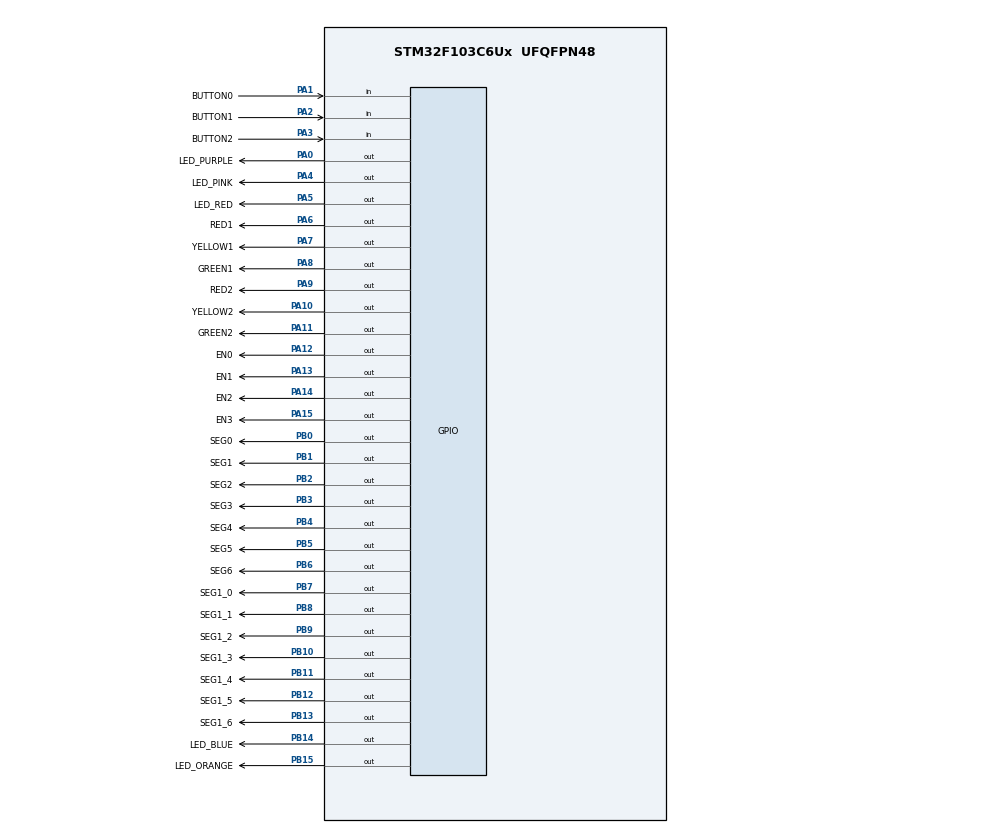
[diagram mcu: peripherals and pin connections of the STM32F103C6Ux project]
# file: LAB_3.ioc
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Mcu.Family=STM32F1
Mcu.Name=STM32F103C6Ux
Mcu.Package=UFQFPN48
NVIC.PriorityGroup=NVIC_PRIORITYGROUP_4
NVIC.TIM2_IRQn=true\:0\:0\:false\:false\:true\:true\:true
PA0-WKUP.GPIO_Label=LED_PURPLE
PA0-WKUP.Signal=GPIO_Output
PA1.GPIO_Label=BUTTON0
PA1.GPIO_PuPd=GPIO_PULLUP
PA1.Signal=GPIO_Input
PA10.GPIO_Label=YELLOW2
PA10.Signal=GPIO_Output
PA11.GPIO_Label=GREEN2
PA11.Signal=GPIO_Output
PA12.GPIO_Label=EN0
PA12.Signal=GPIO_Output
PA13.GPIO_Label=EN1
PA13.Signal=GPIO_Output
PA14.GPIO_Label=EN2
PA14.Signal=GPIO_Output
PA15.GPIO_Label=EN3
PA15.Signal=GPIO_Output
PA2.GPIO_Label=BUTTON1
PA2.GPIO_PuPd=GPIO_PULLUP
PA2.Signal=GPIO_Input
PA3.GPIO_Label=BUTTON2
PA3.GPIO_PuPd=GPIO_PULLUP
PA3.Signal=GPIO_Input
PA4.GPIO_Label=LED_PINK
PA4.Signal=GPIO_Output
PA5.GPIO_Label=LED_RED
PA5.Signal=GPIO_Output
PA6.GPIO_Label=RED1
PA6.Signal=GPIO_Output
PA7.GPIO_Label=YELLOW1
PA7.Signal=GPIO_Output
PA8.GPIO_Label=GREEN1
PA8.Signal=GPIO_Output
PA9.GPIO_Label=RED2
PA9.Signal=GPIO_Output
PB0.GPIO_Label=SEG0
PB0.Signal=GPIO_Output
PB1.GPIO_Label=SEG1
PB1.Signal=GPIO_Output
PB10.GPIO_Label=SEG1_3
PB10.Signal=GPIO_Output
PB11.GPIO_Label=SEG1_4
PB11.Signal=GPIO_Output
PB12.GPIO_Label=SEG1_5
PB12.Signal=GPIO_Output
PB13.GPIO_Label=SEG1_6
PB13.Signal=GPIO_Output
PB14.GPIO_Label=LED_BLUE
PB14.Signal=GPIO_Output
PB15.GPIO_Label=LED_ORANGE
PB15.Signal=GPIO_Output
PB2.GPIO_Label=SEG2
PB2.Signal=GPIO_Output
PB3.GPIO_Label=SEG3
PB3.Signal=GPIO_Output
PB4.GPIO_Label=SEG4
PB4.Signal=GPIO_Output
PB5.GPIO_Label=SEG5
PB5.Signal=GPIO_Output
PB6.GPIO_Label=SEG6
PB6.Signal=GPIO_Output
PB7.GPIO_Label=SEG1_0
PB7.Signal=GPIO_Output
PB8.GPIO_Label=SEG1_1
PB8.Signal=GPIO_Output
PB9.GPIO_Label=SEG1_2
PB9.Signal=GPIO_Output
ProjectManager.HeapSize=0x200
ProjectManager.StackSize=0x400
ProjectManager.TargetToolchain=STM32CubeIDE
RCC.APB1Freq_Value=8000000
RCC.APB2Freq_Value=8000000
TIM2.Period=9
TIM2.Prescaler=7999
VP_SYS_VS_ND.Mode=No_Debug
VP_TIM2_VS_ClockSourceINT.Mode=Internal
board=custom

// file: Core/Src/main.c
/* USER CODE BEGIN Header */
/**
  ******************************************************************************
  * @file           : main.c
  * @brief          : Main program body
  ******************************************************************************
  * @attention
  *
  * <h2><center>&copy; Copyright (c) 2025 STMicroelectronics.
  * All rights reserved.</center></h2>
  *
  * This software component is licensed by ST under BSD 3-Clause license,
  * the "License"; You may not use this file except in compliance with the
  * License. You may obtain a copy of the License at:
  *                        opensource.org/licenses/BSD-3-Clause
  *
  ******************************************************************************
  */
/* USER CODE END Header */
#include "main.h"

/* USER CODE BEGIN Includes */
#include "button.h"
#include "software_timer.h"
#include "display7SEG.h"
#include "traffic_light.h"
#include "global.h"
#include "FSM_automatic.h"
#include "FSM_traffic_light.h"
#include "FSM_display7SEG.h"
#include "scheduler.h"
/* USER CODE END Includes */

TIM_HandleTypeDef htim2;

void SystemClock_Config(void);
static void MX_GPIO_Init(void);
static void MX_TIM2_Init(void);

/* USER CODE BEGIN 0 */
void Task_getKeyInput(){
	getKeyInput0();
	getKeyInput1();
	getKeyInput2();
}
void Task_TrafficLight_controller(){
	FSM_TL_control_run();
	FSM_automatic_run();
}
void Task_Display7SEG(){
	FSM_display7SEG_0();
	FSM_display7SEG_1();
}
void Task_LedRedBlinky(){
	HAL_GPIO_TogglePin(LED_RED_GPIO_Port, LED_RED_Pin);
}
void Task_LedPinkBlinky(){
	HAL_GPIO_TogglePin(LED_PINK_GPIO_Port, LED_PINK_Pin);
}
void Task_LedBlueBlinky(){
	HAL_GPIO_TogglePin(LED_BLUE_GPIO_Port, LED_BLUE_Pin);
}
void Task_LedOrangeBlinky(){
	HAL_GPIO_TogglePin(LED_ORANGE_GPIO_Port, LED_ORANGE_Pin);
}
void Task_LedPurpleBlinky(){
	HAL_GPIO_TogglePin(LED_PURPLE_GPIO_Port, LED_PURPLE_Pin);
}
/* USER CODE END 0 */

int main(void)
{

  /* MCU Configuration--------------------------------------------------------*/

  /* Reset of all peripherals, Initializes the Flash interface and the Systick. */
  HAL_Init();

  /* Configure the system clock */
  SystemClock_Config();

  /* Initialize all configured peripherals */
  MX_GPIO_Init();
  MX_TIM2_Init();
  /* USER CODE BEGIN 2 */
  HAL_TIM_Base_Start_IT(&htim2);

  mode = INIT;
  TL_status = INIT;
  TL_status_1 = INIT;
  status_7SEG_0 = INIT;
  status_7SEG_1 = INIT;
  HAL_GPIO_WritePin(LED_RED_GPIO_Port, LED_RED_Pin, SET);
  HAL_GPIO_WritePin(LED_PINK_GPIO_Port, LED_PINK_Pin, SET);
  HAL_GPIO_WritePin(LED_BLUE_GPIO_Port, LED_BLUE_Pin, SET);
  HAL_GPIO_WritePin(LED_ORANGE_GPIO_Port, LED_ORANGE_Pin, SET);
  HAL_GPIO_WritePin(LED_PURPLE_GPIO_Port, LED_PURPLE_Pin, SET);

  SCH_Init();
  SCH_Add_Task(timerRun, 0, 10);
  SCH_Add_Task(Task_getKeyInput, 0, 10);
  SCH_Add_Task(Task_TrafficLight_controller, 10, 20);
  SCH_Add_Task(Task_Display7SEG, 10, 20);

  SCH_Add_Task(Task_LedRedBlinky, 1000, 500);
  SCH_Add_Task(Task_LedBlueBlinky, 1000, 1000);
  SCH_Add_Task(Task_LedPinkBlinky, 1000, 1500);
  SCH_Add_Task(Task_LedOrangeBlinky, 1000, 2000);
  SCH_Add_Task(Task_LedPurpleBlinky, 1000, 2500);

  /* USER CODE END 2 */

  /* Infinite loop */
  /* USER CODE BEGIN WHILE */
  while (1)
  {
	  SCH_Dispatch_Tasks();

    /* USER CODE END WHILE */

  }
}

void SystemClock_Config(void)
{
  RCC_OscInitTypeDef RCC_OscInitStruct = {0};
  RCC_ClkInitTypeDef RCC_ClkInitStruct = {0};

  /** Initializes the RCC Oscillators according to the specified parameters
  * in the RCC_OscInitTypeDef structure.
  */
  RCC_OscInitStruct.OscillatorType = RCC_OSCILLATORTYPE_HSI;
  RCC_OscInitStruct.HSIState = RCC_HSI_ON;
  RCC_OscInitStruct.HSICalibrationValue = RCC_HSICALIBRATION_DEFAULT;
  RCC_OscInitStruct.PLL.PLLState = RCC_PLL_NONE;
  if (HAL_RCC_OscConfig(&RCC_OscInitStruct) != HAL_OK)
  {
    Error_Handler();
  }
  /** Initializes the CPU, AHB and APB buses clocks
  */
  RCC_ClkInitStruct.ClockType = RCC_CLOCKTYPE_HCLK|RCC_CLOCKTYPE_SYSCLK
                              |RCC_CLOCKTYPE_PCLK1|RCC_CLOCKTYPE_PCLK2;
  RCC_ClkInitStruct.SYSCLKSource = RCC_SYSCLKSOURCE_HSI;
  RCC_ClkInitStruct.AHBCLKDivider = RCC_SYSCLK_DIV1;
  RCC_ClkInitStruct.APB1CLKDivider = RCC_HCLK_DIV1;
  RCC_ClkInitStruct.APB2CLKDivider = RCC_HCLK_DIV1;

  if (HAL_RCC_ClockConfig(&RCC_ClkInitStruct, FLASH_LATENCY_0) != HAL_OK)
  {
    Error_Handler();
  }
}

static void MX_TIM2_Init(void)
{

  TIM_ClockConfigTypeDef sClockSourceConfig = {0};
  TIM_MasterConfigTypeDef sMasterConfig = {0};

  htim2.Instance = TIM2;
  htim2.Init.Prescaler = 7999;
  htim2.Init.CounterMode = TIM_COUNTERMODE_UP;
  htim2.Init.Period = 9;
  htim2.Init.ClockDivision = TIM_CLOCKDIVISION_DIV1;
  htim2.Init.AutoReloadPreload = TIM_AUTORELOAD_PRELOAD_DISABLE;
  if (HAL_TIM_Base_Init(&htim2) != HAL_OK)
  {
    Error_Handler();
  }
  sClockSourceConfig.ClockSource = TIM_CLOCKSOURCE_INTERNAL;
  if (HAL_TIM_ConfigClockSource(&htim2, &sClockSourceConfig) != HAL_OK)
  {
    Error_Handler();
  }
  sMasterConfig.MasterOutputTrigger = TIM_TRGO_RESET;
  sMasterConfig.MasterSlaveMode = TIM_MASTERSLAVEMODE_DISABLE;
  if (HAL_TIMEx_MasterConfigSynchronization(&htim2, &sMasterConfig) != HAL_OK)
  {
    Error_Handler();
  }

}

static void MX_GPIO_Init(void)
{
  GPIO_InitTypeDef GPIO_InitStruct = {0};

  /* GPIO Ports Clock Enable */
  __HAL_RCC_GPIOA_CLK_ENABLE();
  __HAL_RCC_GPIOB_CLK_ENABLE();

  /*Configure GPIO pin Output Level */
  HAL_GPIO_WritePin(GPIOA, LED_PURPLE_Pin|LED_PINK_Pin|LED_RED_Pin|RED1_Pin
                          |YELLOW1_Pin|GREEN1_Pin|RED2_Pin|YELLOW2_Pin
                          |GREEN2_Pin|EN0_Pin|EN1_Pin|EN2_Pin
                          |EN3_Pin, GPIO_PIN_RESET);

  /*Configure GPIO pin Output Level */
  HAL_GPIO_WritePin(GPIOB, SEG0_Pin|SEG1_Pin|SEG2_Pin|SEG1_3_Pin
                          |SEG1_4_Pin|SEG1_5_Pin|SEG1_6_Pin|LED_BLUE_Pin
                          |LED_ORANGE_Pin|SEG3_Pin|SEG4_Pin|SEG5_Pin
                          |SEG6_Pin|SEG1_0_Pin|SEG1_1_Pin|SEG1_2_Pin, GPIO_PIN_RESET);

  /*Configure GPIO pins : LED_PURPLE_Pin LED_PINK_Pin LED_RED_Pin RED1_Pin
                           YELLOW1_Pin GREEN1_Pin RED2_Pin YELLOW2_Pin
                           GREEN2_Pin EN0_Pin EN1_Pin EN2_Pin
                           EN3_Pin */
  GPIO_InitStruct.Pin = LED_PURPLE_Pin|LED_PINK_Pin|LED_RED_Pin|RED1_Pin
                          |YELLOW1_Pin|GREEN1_Pin|RED2_Pin|YELLOW2_Pin
                          |GREEN2_Pin|EN0_Pin|EN1_Pin|EN2_Pin
                          |EN3_Pin;
  GPIO_InitStruct.Mode = GPIO_MODE_OUTPUT_PP;
  GPIO_InitStruct.Pull = GPIO_NOPULL;
  GPIO_InitStruct.Speed = GPIO_SPEED_FREQ_LOW;
  HAL_GPIO_Init(GPIOA, &GPIO_InitStruct);

  /*Configure GPIO pins : BUTTON0_Pin BUTTON1_Pin BUTTON2_Pin */
  GPIO_InitStruct.Pin = BUTTON0_Pin|BUTTON1_Pin|BUTTON2_Pin;
  GPIO_InitStruct.Mode = GPIO_MODE_INPUT;
  GPIO_InitStruct.Pull = GPIO_PULLUP;
  HAL_GPIO_Init(GPIOA, &GPIO_InitStruct);

  /*Configure GPIO pins : SEG0_Pin SEG1_Pin SEG2_Pin SEG1_3_Pin
                           SEG1_4_Pin SEG1_5_Pin SEG1_6_Pin LED_BLUE_Pin
                           LED_ORANGE_Pin SEG3_Pin SEG4_Pin SEG5_Pin
                           SEG6_Pin SEG1_0_Pin SEG1_1_Pin SEG1_2_Pin */
  GPIO_InitStruct.Pin = SEG0_Pin|SEG1_Pin|SEG2_Pin|SEG1_3_Pin
                          |SEG1_4_Pin|SEG1_5_Pin|SEG1_6_Pin|LED_BLUE_Pin
                          |LED_ORANGE_Pin|SEG3_Pin|SEG4_Pin|SEG5_Pin
                          |SEG6_Pin|SEG1_0_Pin|SEG1_1_Pin|SEG1_2_Pin;
  GPIO_InitStruct.Mode = GPIO_MODE_OUTPUT_PP;
  GPIO_InitStruct.Pull = GPIO_NOPULL;
  GPIO_InitStruct.Speed = GPIO_SPEED_FREQ_LOW;
  HAL_GPIO_Init(GPIOB, &GPIO_InitStruct);

}

/* USER CODE BEGIN 4 */
void HAL_TIM_PeriodElapsedCallback(TIM_HandleTypeDef *htim){
	SCH_Update();
}
/* USER CODE END 4 */

void Error_Handler(void)
{
  __disable_irq();
  while (1)
  {
  }
}

/************************ (C) COPYRIGHT STMicroelectronics *****END OF FILE****/
